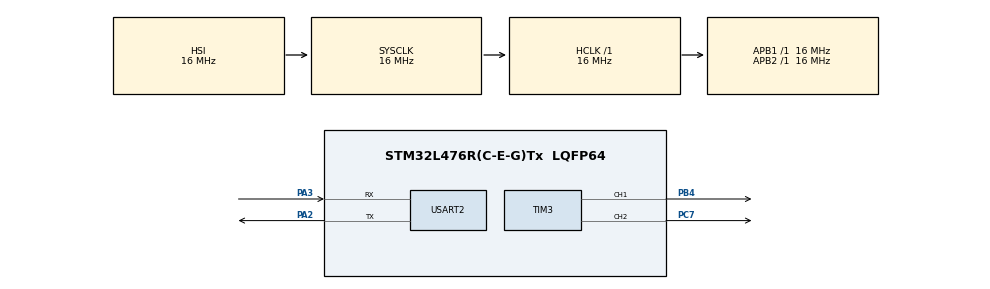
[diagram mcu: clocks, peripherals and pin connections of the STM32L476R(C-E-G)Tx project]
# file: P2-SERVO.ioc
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Mcu.Family=STM32L4
Mcu.Name=STM32L476R(C-E-G)Tx
Mcu.Package=LQFP64
NVIC.PriorityGroup=NVIC_PRIORITYGROUP_4
PA2.Mode=Asynchronous
PA2.Signal=USART2_TX
PA3.Mode=Asynchronous
PA3.Signal=USART2_RX
PB4\ (NJTRST).Signal=S_TIM3_CH1
PC7.Signal=S_TIM3_CH2
ProjectManager.HeapSize=0x200
ProjectManager.StackSize=0x400
ProjectManager.TargetToolchain=STM32CubeIDE
RCC.AHBFreq_Value=16000000
RCC.APB1Freq_Value=16000000
RCC.APB1TimFreq_Value=16000000
RCC.APB2Freq_Value=16000000
RCC.APB2TimFreq_Value=16000000
RCC.CortexFreq_Value=16000000
RCC.HCLKFreq_Value=16000000
RCC.HSE_VALUE=8000000
RCC.HSI_VALUE=16000000
RCC.LSE_VALUE=32768
RCC.MSI_VALUE=4000000
RCC.SYSCLKFreq_VALUE=16000000
RCC.SYSCLKSource=RCC_SYSCLKSOURCE_HSI
RCC.VCOOutputFreq_Value=32000000
SH.S_TIM3_CH1.0=TIM3_CH1,PWM Generation1 CH1
SH.S_TIM3_CH2.0=TIM3_CH2,PWM Generation2 CH2
TIM3.Channel-PWM\ Generation1\ CH1=TIM_CHANNEL_1
TIM3.Channel-PWM\ Generation2\ CH2=TIM_CHANNEL_2
USART2.VirtualMode-Asynchronous=VM_ASYNC
VP_TIM3_VS_ClockSourceINT.Mode=Internal
board=custom

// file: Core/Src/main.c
/* USER CODE BEGIN Header */
/**
  ******************************************************************************
  * @file           : main.c
  * @brief          : Main program body
  ******************************************************************************
  * @attention
  *
  * <h2><center>&copy; Copyright (c) 2021 STMicroelectronics.
  * All rights reserved.</center></h2>
  *
  * This software component is licensed by ST under BSD 3-Clause license,
  * the "License"; You may not use this file except in compliance with the
  * License. You may obtain a copy of the License at:
  *                        opensource.org/licenses/BSD-3-Clause
  *
  ******************************************************************************
  */
/* USER CODE END Header */
#include "main.h"

/* USER CODE BEGIN Includes */
#include "recipes.h"
/* USER CODE END Includes */

TIM_HandleTypeDef htim3;

UART_HandleTypeDef huart2;

void SystemClock_Config(void);
static void MX_GPIO_Init(void);
static void MX_TIM3_Init(void);
static void MX_USART2_UART_Init(void);

int main(void)
{
  /* USER CODE BEGIN 1 */
  servoState servo1, servo2;
  recipeState recipe1, recipe2;
  recipeState *recipes[2] = {&recipe1, &recipe2};
  /* USER CODE END 1 */

  /* MCU Configuration--------------------------------------------------------*/

  /* Reset of all peripherals, Initializes the Flash interface and the Systick. */
  HAL_Init();

  /* Configure the system clock */
  SystemClock_Config();

  /* USER CODE BEGIN SysInit */
  // Enable the clock to GPIO Ports A, and B
  RCC->AHB2ENR |= RCC_AHB2ENR_GPIOAEN;    // enable clock some MFS buttons / LEDs
  RCC->AHB2ENR |= RCC_AHB2ENR_GPIOBEN;    // enable clock some MFS buttons / LEDs
  /* USER CODE END SysInit */

  /* Initialize all configured peripherals */
  MX_GPIO_Init();
  MX_TIM3_Init();
  MX_USART2_UART_Init();
  /* USER CODE BEGIN 2 */
  MFS_init();
  // Initialize Timer
  HAL_TIM_PWM_Start(&htim3, TIM_CHANNEL_1);
  HAL_TIM_PWM_Start(&htim3, TIM_CHANNEL_2);
  // We want a 20ms PWM period for our servos, so change prescaler/autoreload
  // such that FCLK/((ARR+1)*(PSC+1)) = 50 Hz
  //  --> PSC = 16-1 (1us per count)
  //  --> ARR = 20000-1 (20ms)
  TIM3->PSC = 15;
  TIM3->ARR = 19999;
  TIM3->EGR |= TIM_EGR_UG;
  // Initialize servos
  Servo_Init(&servo1, htim3.Instance, TIM_CHANNEL_1);
  Servo_Init(&servo2, htim3.Instance, TIM_CHANNEL_2);
  // Initialize recipes
  Recipe_Init(recipes[0], RECIPE_A, 1, &servo1);
  Recipe_Init(recipes[1], RECIPE_B, 2, &servo2);

  /* USER CODE END 2 */

  /* Infinite loop */
  /* USER CODE BEGIN WHILE */
  println("CMPE-663 Project 2 - Servos (cxa6282@rit.edu)");
  print("> ");
  while (1)
  {
    /* USER CODE END WHILE */

    /* USER CODE BEGIN 3 */
	// Store current tick.
	uint32_t tick_start = HAL_GetTick();
	// Execute next recipe instruction.
	Recipe_Process_Next(recipes[0]);
	Recipe_Process_Next(recipes[1]);
	// Wait until 100ms has elapsed this iteration.
	while ((HAL_GetTick() - tick_start) < LOOP_PERIOD_MS) {
		// Fetch override functions.
		ORCMD_Function *OR_func = ORCMD_Get_Functions(&huart2);
		// Process override functions with respect to state machine.
		for (int i = 0; i < NUM_CONC_RECIPES; i++) {
			int pos = recipes[i]->servo_state->position;
			switch (OR_func[i]) {
				case PAUSE:
					Recipe_Update_Status(recipes[i], PAUSED);
					break;
				case CONTINUE:
					Recipe_Update_Status(recipes[i], RUNNING);
					break;
				case BEGIN:
					Recipe_Restart(recipes[i]);
					break;
				case MOVEL:
					pos += 1;
					if (pos <= 5 && (recipes[i]->status == PAUSED)) {
						Servo_Move(recipes[i]->servo_state, pos);
					}
					break;
				case MOVER:
					pos -= 1;
					if (pos >= 0 && (recipes[i]->status == PAUSED)) {
						Servo_Move(recipes[i]->servo_state, pos);
					}
					break;
				case NOOP:
					break;
			}
		}
	}
  }
  /* USER CODE END 3 */
}

void SystemClock_Config(void)
{
  RCC_OscInitTypeDef RCC_OscInitStruct = {0};
  RCC_ClkInitTypeDef RCC_ClkInitStruct = {0};

  /** Configure the main internal regulator output voltage
  */
  if (HAL_PWREx_ControlVoltageScaling(PWR_REGULATOR_VOLTAGE_SCALE1) != HAL_OK)
  {
    Error_Handler();
  }
  /** Initializes the RCC Oscillators according to the specified parameters
  * in the RCC_OscInitTypeDef structure.
  */
  RCC_OscInitStruct.OscillatorType = RCC_OSCILLATORTYPE_HSI;
  RCC_OscInitStruct.HSIState = RCC_HSI_ON;
  RCC_OscInitStruct.HSICalibrationValue = RCC_HSICALIBRATION_DEFAULT;
  RCC_OscInitStruct.PLL.PLLState = RCC_PLL_NONE;
  if (HAL_RCC_OscConfig(&RCC_OscInitStruct) != HAL_OK)
  {
    Error_Handler();
  }
  /** Initializes the CPU, AHB and APB buses clocks
  */
  RCC_ClkInitStruct.ClockType = RCC_CLOCKTYPE_HCLK|RCC_CLOCKTYPE_SYSCLK
                              |RCC_CLOCKTYPE_PCLK1|RCC_CLOCKTYPE_PCLK2;
  RCC_ClkInitStruct.SYSCLKSource = RCC_SYSCLKSOURCE_HSI;
  RCC_ClkInitStruct.AHBCLKDivider = RCC_SYSCLK_DIV1;
  RCC_ClkInitStruct.APB1CLKDivider = RCC_HCLK_DIV1;
  RCC_ClkInitStruct.APB2CLKDivider = RCC_HCLK_DIV1;

  if (HAL_RCC_ClockConfig(&RCC_ClkInitStruct, FLASH_LATENCY_0) != HAL_OK)
  {
    Error_Handler();
  }
}

static void MX_TIM3_Init(void)
{

  TIM_ClockConfigTypeDef sClockSourceConfig = {0};
  TIM_MasterConfigTypeDef sMasterConfig = {0};
  TIM_OC_InitTypeDef sConfigOC = {0};

  htim3.Instance = TIM3;
  htim3.Init.Prescaler = 0;
  htim3.Init.CounterMode = TIM_COUNTERMODE_UP;
  htim3.Init.Period = 65535;
  htim3.Init.ClockDivision = TIM_CLOCKDIVISION_DIV1;
  htim3.Init.AutoReloadPreload = TIM_AUTORELOAD_PRELOAD_DISABLE;
  if (HAL_TIM_Base_Init(&htim3) != HAL_OK)
  {
    Error_Handler();
  }
  sClockSourceConfig.ClockSource = TIM_CLOCKSOURCE_INTERNAL;
  if (HAL_TIM_ConfigClockSource(&htim3, &sClockSourceConfig) != HAL_OK)
  {
    Error_Handler();
  }
  if (HAL_TIM_PWM_Init(&htim3) != HAL_OK)
  {
    Error_Handler();
  }
  sMasterConfig.MasterOutputTrigger = TIM_TRGO_RESET;
  sMasterConfig.MasterSlaveMode = TIM_MASTERSLAVEMODE_DISABLE;
  if (HAL_TIMEx_MasterConfigSynchronization(&htim3, &sMasterConfig) != HAL_OK)
  {
    Error_Handler();
  }
  sConfigOC.OCMode = TIM_OCMODE_PWM1;
  sConfigOC.Pulse = 0;
  sConfigOC.OCPolarity = TIM_OCPOLARITY_HIGH;
  sConfigOC.OCFastMode = TIM_OCFAST_DISABLE;
  if (HAL_TIM_PWM_ConfigChannel(&htim3, &sConfigOC, TIM_CHANNEL_1) != HAL_OK)
  {
    Error_Handler();
  }
  if (HAL_TIM_PWM_ConfigChannel(&htim3, &sConfigOC, TIM_CHANNEL_2) != HAL_OK)
  {
    Error_Handler();
  }
  HAL_TIM_MspPostInit(&htim3);

}

static void MX_USART2_UART_Init(void)
{

  huart2.Instance = USART2;
  huart2.Init.BaudRate = 115200;
  huart2.Init.WordLength = UART_WORDLENGTH_8B;
  huart2.Init.StopBits = UART_STOPBITS_1;
  huart2.Init.Parity = UART_PARITY_NONE;
  huart2.Init.Mode = UART_MODE_TX_RX;
  huart2.Init.HwFlowCtl = UART_HWCONTROL_NONE;
  huart2.Init.OverSampling = UART_OVERSAMPLING_16;
  huart2.Init.OneBitSampling = UART_ONE_BIT_SAMPLE_DISABLE;
  huart2.AdvancedInit.AdvFeatureInit = UART_ADVFEATURE_NO_INIT;
  if (HAL_UART_Init(&huart2) != HAL_OK)
  {
    Error_Handler();
  }

}

static void MX_GPIO_Init(void)
{

  /* GPIO Ports Clock Enable */
  __HAL_RCC_GPIOA_CLK_ENABLE();
  __HAL_RCC_GPIOC_CLK_ENABLE();
  __HAL_RCC_GPIOB_CLK_ENABLE();

}

/* USER CODE BEGIN 4 */
void print(char *str) {
	HAL_UART_Transmit(&huart2, (uint8_t *)str, strnlen(str, 256), UART_TIMEOUT_MS);
}

void println(char *str) {
	print(str);
	HAL_UART_Transmit(&huart2, (uint8_t *)("\r\n"), 2, UART_TIMEOUT_MS);
}

/* Sets the duty cycle of the specified timer PWM channel. */
void PWM_Set_Duty(TIM_TypeDef *htim, uint32_t channel, float duty_percent) {
	// Fetch current auto-reload value
	uint16_t arr = htim->ARR+1;
	// Bound duty percent to servo min/max values.
	float duty = duty_percent;
	if (duty_percent < SERVO_POS_TO_DUTY(5)) {
		duty = SERVO_POS_TO_DUTY(5);
	} else if (duty_percent > SERVO_POS_TO_DUTY(0)) {
		duty = SERVO_POS_TO_DUTY(0);
	}
	// Assign compare/capture register to duty cycle in terms of counts.
	uint32_t ccr = (arr*duty)/100 - 1;
	switch (channel) {
		case TIM_CHANNEL_1:
			htim->CCR1 = ccr;
			break;
		case TIM_CHANNEL_2:
			htim->CCR2 = ccr;
			break;
		case TIM_CHANNEL_3:
			htim->CCR3 = ccr;
			break;
		case TIM_CHANNEL_4:
			htim->CCR4 = ccr;
			break;
	}
}
/* USER CODE END 4 */

void Error_Handler(void)
{
  __disable_irq();
  while (1)
  {
  }
}

/************************ (C) COPYRIGHT STMicroelectronics *****END OF FILE****/
